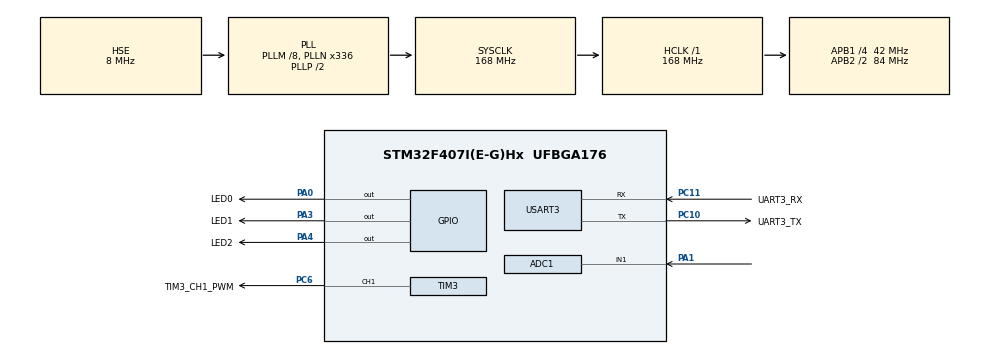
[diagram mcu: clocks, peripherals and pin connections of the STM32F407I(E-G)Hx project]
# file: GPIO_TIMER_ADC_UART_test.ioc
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ADC1.Channel-1\#ChannelRegularConversion=ADC_CHANNEL_1
ADC1.NbrOfConversionFlag=1
ADC1.Rank-1\#ChannelRegularConversion=1
ADC1.SamplingTime-1\#ChannelRegularConversion=ADC_SAMPLETIME_3CYCLES
ADC1.master=1
Mcu.Family=STM32F4
Mcu.Name=STM32F407I(E-G)Hx
Mcu.Package=UFBGA176
NVIC.ADC_IRQn=true\:0\:0\:false\:false\:true\:true\:true
NVIC.PriorityGroup=NVIC_PRIORITYGROUP_4
NVIC.TIM6_DAC_IRQn=true\:0\:0\:false\:false\:true\:true\:true
NVIC.USART3_IRQn=true\:0\:0\:false\:false\:true\:true\:true
PA0-WKUP.GPIO_Label=LED0
PA0-WKUP.Signal=GPIO_Output
PA1.Signal=ADCx_IN1
PA13.Mode=Serial_Wire
PA13.Signal=SYS_JTMS-SWDIO
PA14.Mode=Serial_Wire
PA14.Signal=SYS_JTCK-SWCLK
PA3.GPIO_Label=LED1
PA3.Signal=GPIO_Output
PA4.GPIO_Label=LED2
PA4.Signal=GPIO_Output
PC10.GPIO_Label=UART3_TX
PC10.Mode=Asynchronous
PC10.Signal=USART3_TX
PC11.GPIO_Label=UART3_RX
PC11.Mode=Asynchronous
PC11.Signal=USART3_RX
PC14-OSC32_IN.Mode=LSE-External-Oscillator
PC14-OSC32_IN.Signal=RCC_OSC32_IN
PC15-OSC32_OUT.Mode=LSE-External-Oscillator
PC15-OSC32_OUT.Signal=RCC_OSC32_OUT
PC6.GPIO_Label=TIM3_CH1_PWM
PC6.Signal=S_TIM3_CH1
PH0-OSC_IN.Mode=HSE-External-Oscillator
PH0-OSC_IN.Signal=RCC_OSC_IN
PH1-OSC_OUT.Mode=HSE-External-Oscillator
PH1-OSC_OUT.Signal=RCC_OSC_OUT
ProjectManager.HeapSize=0x200
ProjectManager.StackSize=0x400
ProjectManager.TargetToolchain=EWARM V8.32
RCC.48MHZClocksFreq_Value=84000000
RCC.AHBFreq_Value=168000000
RCC.APB1CLKDivider=RCC_HCLK_DIV4
RCC.APB1Freq_Value=42000000
RCC.APB1TimFreq_Value=84000000
RCC.APB2CLKDivider=RCC_HCLK_DIV2
RCC.APB2Freq_Value=84000000
RCC.APB2TimFreq_Value=168000000
RCC.CortexFreq_Value=168000000
RCC.HCLKFreq_Value=168000000
RCC.HSE_VALUE=8000000
RCC.HSI_VALUE=16000000
RCC.PLLM=8
RCC.PLLN=336
RCC.PLLSourceVirtual=RCC_PLLSOURCE_HSE
RCC.SYSCLKFreq_VALUE=168000000
RCC.SYSCLKSource=RCC_SYSCLKSOURCE_PLLCLK
RCC.VCOOutputFreq_Value=336000000
SH.ADCx_IN1.0=ADC1_IN1,IN1
SH.S_TIM3_CH1.0=TIM3_CH1,PWM Generation1 CH1
TIM3.Channel-PWM\ Generation1\ CH1=TIM_CHANNEL_1
TIM3.Period=1000-1
TIM3.Prescaler=84-1
TIM6.AutoReloadPreload=TIM_AUTORELOAD_PRELOAD_DISABLE
TIM6.Period=10000-1
TIM6.Prescaler=8400-1
USART3.VirtualMode=VM_ASYNC
VP_TIM6_VS_ClockSourceINT.Mode=Enable_Timer
board=custom

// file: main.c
/* USER CODE BEGIN Header */
/**
  ******************************************************************************
  * @file           : main.c
  * @brief          : Main program body
  ******************************************************************************
  * @attention
  *
  * <h2><center>&copy; Copyright (c) 2020 STMicroelectronics.
  * All rights reserved.</center></h2>
  *
  * This software component is licensed by ST under BSD 3-Clause license,
  * the "License"; You may not use this file except in compliance with the
  * License. You may obtain a copy of the License at:
  *                        opensource.org/licenses/BSD-3-Clause
  *
  ******************************************************************************
  */
/* USER CODE END Header */
#include "main.h"

/* USER CODE BEGIN PM */
uint8_t  a;

/* USER CODE END PM */

ADC_HandleTypeDef hadc1;

TIM_HandleTypeDef htim3;
TIM_HandleTypeDef htim6;

UART_HandleTypeDef huart3;

void SystemClock_Config(void);
static void MX_GPIO_Init(void);
static void MX_ADC1_Init(void);
static void MX_TIM3_Init(void);
static void MX_USART3_UART_Init(void);
static void MX_TIM6_Init(void);

/* USER CODE BEGIN 0 */
void LED_OnOff(){
    HAL_GPIO_WritePin(GPIOA, LED1_Pin|LED2_Pin ,  GPIO_PIN_SET);
    HAL_Delay(1000);
    HAL_GPIO_WritePin(GPIOA, LED1_Pin|LED2_Pin ,  GPIO_PIN_RESET);
    HAL_Delay(1000);
}
void Timer3_CH1_PWM(){
HAL_TIM_PWM_Start(&htim3, TIM_CHANNEL_1 );

__HAL_TIM_SET_COMPARE(&htim3,TIM_CHANNEL_1,1);  //TIM3->CCR1=0; //htim3.Instance->CCR1=500;  다 됨
HAL_Delay(500);
__HAL_TIM_SET_COMPARE(&htim3,TIM_CHANNEL_1,500);  // TIM3->CCR1=500;
HAL_Delay(500);
__HAL_TIM_SET_COMPARE(&htim3,TIM_CHANNEL_1,1000);  // TIM3->CCR1=1000;
HAL_Delay(500);
}
void HAL_TIM_PeriodElapsedCallback(TIM_HandleTypeDef *htim){
  //HAL_TIM_Base_Start_IT(&htim6);   // 이 콜백함수들은 인터럽트가 발생되면 들어오게됨

  if(htim->Instance==TIM6){
  //HAL_GPIO_TogglePin(GPIOA,LED2_Pin);
  //GPIOBA->ODR ^= LED2_Pin;
  }
  /*
 //HAL_TIM_Base_Start(&htim6);   // 그러나 인터럽트가 아닌 타이머 시작을 하면 Update flag가 활성화 되는 방식으로도 활용가능
 if(__HAL_TIM_GET_FLAG(&htim6, TIM_FLAG_UPDATE))
    {
      __HAL_TIM_CLEAR_IT(&htim6, TIM_IT_UPDATE );
      HAL_GPIO_TogglePin(GPIOA,LED2_Pin);
    }*/
}
#if 1  // printf 사용 함수
#include <stdio.h>
#define PUTCHAR_PROTOTYPE int fputc(int ch, FILE *f)  //for printf

PUTCHAR_PROTOTYPE
{
  /* Place your implementation of fputc here */
  /* e.g. write a character to the USART2 and Loop until the end of transmission */
  HAL_UART_Transmit(&huart3, (uint8_t *)&ch, 1, 0xFFFF);

  return ch;
}
#endif
void Uart3_TxRx(){

  uint8_t  a;

    HAL_UART_Receive(&huart3,&a, 1, 10);
    HAL_UART_Transmit(&huart3, &a, 1,  10);
    //__HAL_UART_GET_FLAG
}

void HAL_UART_RxCpltCallback(UART_HandleTypeDef *huart){

   HAL_GPIO_TogglePin(GPIOA,LED2_Pin);

  if(huart->Instance==USART3){
//  uint8_t  a=0x41;

  HAL_UART_Transmit(&huart3, &a, 1,  1);
  HAL_UART_Receive_IT(&huart3,  &a, 1);  // 플래그 또한 초기화 해줌
  //__HAL_UART_CLEAR_FLAG(&huart3,UART_CLEAR_OREF);

  }
}

void ADC1_polling(){
    // char buffer[255];
     uint16_t ADC_data;

    HAL_ADC_Start(&hadc1);
    ADC_data = HAL_ADC_GetValue(&hadc1);
   // sprintf(buffer,"%d \r\n", ADC_data);
   // HAL_UART_Transmit(&huart3,(uint8_t *)buffer,strlen(buffer),100);
    printf ( "\n \r AD val == % d", ADC_data);
    HAL_Delay(300);
}

void HAL_ADC_ConvCpltCallback(ADC_HandleTypeDef* hadc){

uint16_t adc_value;

  if(hadc->Instance==ADC1){
   adc_value= HAL_ADC_GetValue (&hadc1);
   printf ( "\n \r AD val == % d", adc_value);
   //HAL_Delay(10);
  //HAL_ADC_Start_IT(&hadc1);

  }

}
/* USER CODE END 0 */

int main(void)
{

  /* MCU Configuration--------------------------------------------------------*/

  /* Reset of all peripherals, Initializes the Flash interface and the Systick. */
  HAL_Init();

  /* Configure the system clock */
  SystemClock_Config();

  /* Initialize all configured peripherals */
  MX_GPIO_Init();
  MX_ADC1_Init();
  MX_TIM3_Init();
  MX_USART3_UART_Init();
  MX_TIM6_Init();
  /* USER CODE BEGIN 2 */
  HAL_TIM_Base_Start_IT(&htim6);
  HAL_ADC_Start_IT(&hadc1);
  HAL_UART_Receive_IT(&huart3,  &a, 1);  // 한번 초기화 해줘야함,  // 플래그 또한 초기화 해줌

//#include "string.h"
  /* USER CODE END 2 */

  /* Infinite loop */
  while (1)
  {

    /* USER CODE BEGIN 3 */
   // LED_OnOff();
    //Timer3_CH1_PWM();
   //Uart3_TxRx();
   //ADC1_polling();

  }
  /* USER CODE END 3 */
}

void SystemClock_Config(void)
{
  RCC_OscInitTypeDef RCC_OscInitStruct = {0};
  RCC_ClkInitTypeDef RCC_ClkInitStruct = {0};

  /** Configure the main internal regulator output voltage
  */
  __HAL_RCC_PWR_CLK_ENABLE();
  __HAL_PWR_VOLTAGESCALING_CONFIG(PWR_REGULATOR_VOLTAGE_SCALE1);
  /** Initializes the RCC Oscillators according to the specified parameters
  * in the RCC_OscInitTypeDef structure.
  */
  RCC_OscInitStruct.OscillatorType = RCC_OSCILLATORTYPE_HSE;
  RCC_OscInitStruct.HSEState = RCC_HSE_ON;
  RCC_OscInitStruct.PLL.PLLState = RCC_PLL_ON;
  RCC_OscInitStruct.PLL.PLLSource = RCC_PLLSOURCE_HSE;
  RCC_OscInitStruct.PLL.PLLM = 8;
  RCC_OscInitStruct.PLL.PLLN = 336;
  RCC_OscInitStruct.PLL.PLLP = RCC_PLLP_DIV2;
  RCC_OscInitStruct.PLL.PLLQ = 4;
  if (HAL_RCC_OscConfig(&RCC_OscInitStruct) != HAL_OK)
  {
    Error_Handler();
  }
  /** Initializes the CPU, AHB and APB buses clocks
  */
  RCC_ClkInitStruct.ClockType = RCC_CLOCKTYPE_HCLK|RCC_CLOCKTYPE_SYSCLK
                              |RCC_CLOCKTYPE_PCLK1|RCC_CLOCKTYPE_PCLK2;
  RCC_ClkInitStruct.SYSCLKSource = RCC_SYSCLKSOURCE_PLLCLK;
  RCC_ClkInitStruct.AHBCLKDivider = RCC_SYSCLK_DIV1;
  RCC_ClkInitStruct.APB1CLKDivider = RCC_HCLK_DIV4;
  RCC_ClkInitStruct.APB2CLKDivider = RCC_HCLK_DIV2;

  if (HAL_RCC_ClockConfig(&RCC_ClkInitStruct, FLASH_LATENCY_5) != HAL_OK)
  {
    Error_Handler();
  }
}

static void MX_ADC1_Init(void)
{

  ADC_ChannelConfTypeDef sConfig = {0};

  /** Configure the global features of the ADC (Clock, Resolution, Data Alignment and number of conversion)
  */
  hadc1.Instance = ADC1;
  hadc1.Init.ClockPrescaler = ADC_CLOCK_SYNC_PCLK_DIV4;
  hadc1.Init.Resolution = ADC_RESOLUTION_12B;
  hadc1.Init.ScanConvMode = DISABLE;
  hadc1.Init.ContinuousConvMode = DISABLE;
  hadc1.Init.DiscontinuousConvMode = DISABLE;
  hadc1.Init.ExternalTrigConvEdge = ADC_EXTERNALTRIGCONVEDGE_NONE;
  hadc1.Init.ExternalTrigConv = ADC_SOFTWARE_START;
  hadc1.Init.DataAlign = ADC_DATAALIGN_RIGHT;
  hadc1.Init.NbrOfConversion = 1;
  hadc1.Init.DMAContinuousRequests = DISABLE;
  hadc1.Init.EOCSelection = ADC_EOC_SINGLE_CONV;
  if (HAL_ADC_Init(&hadc1) != HAL_OK)
  {
    Error_Handler();
  }
  /** Configure for the selected ADC regular channel its corresponding rank in the sequencer and its sample time.
  */
  sConfig.Channel = ADC_CHANNEL_1;
  sConfig.Rank = 1;
  sConfig.SamplingTime = ADC_SAMPLETIME_3CYCLES;
  if (HAL_ADC_ConfigChannel(&hadc1, &sConfig) != HAL_OK)
  {
    Error_Handler();
  }

}

static void MX_TIM3_Init(void)
{

  TIM_MasterConfigTypeDef sMasterConfig = {0};
  TIM_OC_InitTypeDef sConfigOC = {0};

  htim3.Instance = TIM3;
  htim3.Init.Prescaler = 84-1;
  htim3.Init.CounterMode = TIM_COUNTERMODE_UP;
  htim3.Init.Period = 1000-1;
  htim3.Init.ClockDivision = TIM_CLOCKDIVISION_DIV1;
  htim3.Init.AutoReloadPreload = TIM_AUTORELOAD_PRELOAD_DISABLE;
  if (HAL_TIM_PWM_Init(&htim3) != HAL_OK)
  {
    Error_Handler();
  }
  sMasterConfig.MasterOutputTrigger = TIM_TRGO_RESET;
  sMasterConfig.MasterSlaveMode = TIM_MASTERSLAVEMODE_DISABLE;
  if (HAL_TIMEx_MasterConfigSynchronization(&htim3, &sMasterConfig) != HAL_OK)
  {
    Error_Handler();
  }
  sConfigOC.OCMode = TIM_OCMODE_PWM1;
  sConfigOC.Pulse = 0;
  sConfigOC.OCPolarity = TIM_OCPOLARITY_HIGH;
  sConfigOC.OCFastMode = TIM_OCFAST_DISABLE;
  if (HAL_TIM_PWM_ConfigChannel(&htim3, &sConfigOC, TIM_CHANNEL_1) != HAL_OK)
  {
    Error_Handler();
  }
  HAL_TIM_MspPostInit(&htim3);

}

static void MX_TIM6_Init(void)
{

  TIM_MasterConfigTypeDef sMasterConfig = {0};

  htim6.Instance = TIM6;
  htim6.Init.Prescaler = 8400-1;
  htim6.Init.CounterMode = TIM_COUNTERMODE_UP;
  htim6.Init.Period = 10000-1;
  htim6.Init.AutoReloadPreload = TIM_AUTORELOAD_PRELOAD_DISABLE;
  if (HAL_TIM_Base_Init(&htim6) != HAL_OK)
  {
    Error_Handler();
  }
  sMasterConfig.MasterOutputTrigger = TIM_TRGO_RESET;
  sMasterConfig.MasterSlaveMode = TIM_MASTERSLAVEMODE_DISABLE;
  if (HAL_TIMEx_MasterConfigSynchronization(&htim6, &sMasterConfig) != HAL_OK)
  {
    Error_Handler();
  }

}

static void MX_USART3_UART_Init(void)
{

  huart3.Instance = USART3;
  huart3.Init.BaudRate = 115200;
  huart3.Init.WordLength = UART_WORDLENGTH_8B;
  huart3.Init.StopBits = UART_STOPBITS_1;
  huart3.Init.Parity = UART_PARITY_NONE;
  huart3.Init.Mode = UART_MODE_TX_RX;
  huart3.Init.HwFlowCtl = UART_HWCONTROL_NONE;
  huart3.Init.OverSampling = UART_OVERSAMPLING_16;
  if (HAL_UART_Init(&huart3) != HAL_OK)
  {
    Error_Handler();
  }

}

static void MX_GPIO_Init(void)
{
  GPIO_InitTypeDef GPIO_InitStruct = {0};

  /* GPIO Ports Clock Enable */
  __HAL_RCC_GPIOA_CLK_ENABLE();
  __HAL_RCC_GPIOC_CLK_ENABLE();
  __HAL_RCC_GPIOH_CLK_ENABLE();

  /*Configure GPIO pin Output Level */
  HAL_GPIO_WritePin(GPIOA, LED0_Pin|LED2_Pin|LED1_Pin, GPIO_PIN_RESET);

  /*Configure GPIO pins : LED0_Pin LED2_Pin LED1_Pin */
  GPIO_InitStruct.Pin = LED0_Pin|LED2_Pin|LED1_Pin;
  GPIO_InitStruct.Mode = GPIO_MODE_OUTPUT_PP;
  GPIO_InitStruct.Pull = GPIO_NOPULL;
  GPIO_InitStruct.Speed = GPIO_SPEED_FREQ_LOW;
  HAL_GPIO_Init(GPIOA, &GPIO_InitStruct);

}

void Error_Handler(void)
{
}

/************************ (C) COPYRIGHT STMicroelectronics *****END OF FILE****/
